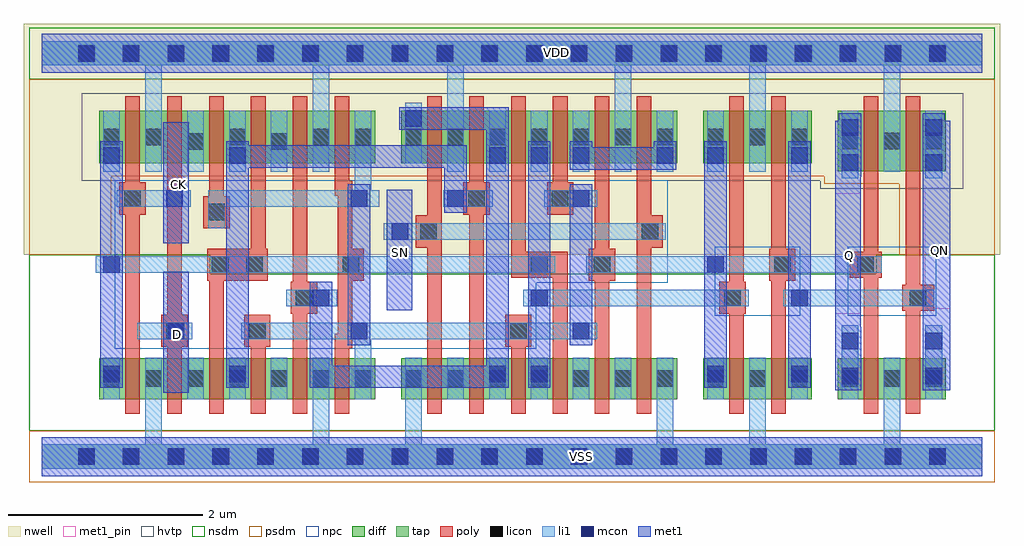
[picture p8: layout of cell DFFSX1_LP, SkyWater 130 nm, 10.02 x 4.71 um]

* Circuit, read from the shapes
.subckt DFFSX1_LP CK D Q QN SN VDD VSS
XM1 VSS CK n1 VSS sky130_fd_pr__nfet_01v8 w=0.42 l=0.15
XM2 n2 D VSS VSS sky130_fd_pr__nfet_01v8 w=0.42 l=0.15
XM3 n3 n1 n2 VSS sky130_fd_pr__nfet_01v8 w=0.42 l=0.15
XM4 n4 n5 n3 VSS sky130_fd_pr__nfet_01v8 w=0.42 l=0.15
XM5 VSS n6 n4 VSS sky130_fd_pr__nfet_01v8 w=0.42 l=0.15
XM6 n5 n1 VSS VSS sky130_fd_pr__nfet_01v8 w=0.42 l=0.15
XM7 n7 SN VSS VSS sky130_fd_pr__nfet_01v8 w=0.42 l=0.15
XM8 n6 n3 n7 VSS sky130_fd_pr__nfet_01v8 w=0.42 l=0.15
XM9 n8 n5 n6 VSS sky130_fd_pr__nfet_01v8 w=0.42 l=0.15
XM10 n9 n1 n8 VSS sky130_fd_pr__nfet_01v8 w=0.42 l=0.15
XM11 n10 n11 n9 VSS sky130_fd_pr__nfet_01v8 w=0.42 l=0.15
XM12 VSS SN n10 VSS sky130_fd_pr__nfet_01v8 w=0.42 l=0.15
XM13 VSS n8 n11 VSS sky130_fd_pr__nfet_01v8 w=0.42 l=0.15
XM14 n12 n11 VSS VSS sky130_fd_pr__nfet_01v8 w=0.42 l=0.15
XM15 VSS n11 Q VSS sky130_fd_pr__nfet_01v8 w=0.42 l=0.15
XM16 QN n12 VSS VSS sky130_fd_pr__nfet_01v8 w=0.42 l=0.15
XM17 VDD CK n1 VDD sky130_fd_pr__pfet_01v8_hvt w=0.54 l=0.15
XM18 n13 D VDD VDD sky130_fd_pr__pfet_01v8_hvt w=0.54 l=0.15
XM19 n3 n5 n13 VDD sky130_fd_pr__pfet_01v8_hvt w=0.54 l=0.15
XM20 n14 n1 n3 VDD sky130_fd_pr__pfet_01v8_hvt w=0.54 l=0.15
XM21 VDD n6 n14 VDD sky130_fd_pr__pfet_01v8_hvt w=0.54 l=0.15
XM22 n5 n1 VDD VDD sky130_fd_pr__pfet_01v8_hvt w=0.54 l=0.15
XM23 VDD SN n6 VDD sky130_fd_pr__pfet_01v8_hvt w=0.54 l=0.15
XM24 n6 n3 VDD VDD sky130_fd_pr__pfet_01v8_hvt w=0.54 l=0.15
XM25 n8 n1 n6 VDD sky130_fd_pr__pfet_01v8_hvt w=0.54 l=0.15
XM26 n15 n5 n8 VDD sky130_fd_pr__pfet_01v8_hvt w=0.54 l=0.15
XM27 VDD n11 n15 VDD sky130_fd_pr__pfet_01v8_hvt w=0.54 l=0.15
XM28 n15 SN VDD VDD sky130_fd_pr__pfet_01v8_hvt w=0.54 l=0.15
XM29 VDD n8 n11 VDD sky130_fd_pr__pfet_01v8_hvt w=0.54 l=0.15
XM30 n12 n11 VDD VDD sky130_fd_pr__pfet_01v8_hvt w=0.54 l=0.15
XM31 VDD n11 Q VDD sky130_fd_pr__pfet_01v8_hvt w=0.62 l=0.15
XM32 QN n12 VDD VDD sky130_fd_pr__pfet_01v8_hvt w=0.62 l=0.15
.ends

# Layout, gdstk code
from math import pi, radians
import gdstk
lib = gdstk.Library(unit=1e-6, precision=1e-09)
def R(c, l, rs):  # rectangles x0, y0, x1, y1
    for r in rs: c.add(gdstk.rectangle(r[:2], r[2:], *l))
def A(c, l, x, y, w, h, nx, ny, dx, dy):  # array of equal rectangles
    R(c, l, [(x+i*dx, y+j*dy, x+i*dx+w, y+j*dy+h) for i in range(nx) for j in range(ny)])
def P(c, l, *ps):  # polygons
    for p in ps: c.add(gdstk.Polygon(p, *l))
nwell = (64, 20)
diff = (65, 20)
tap = (65, 44)
poly = (66, 20)
licon = (66, 44)
li1 = (67, 20)
mcon = (67, 44)
met1_pin = (68, 16)
met1 = (68, 20)
hvtp = (78, 44)
nsdm = (93, 44)
psdm = (94, 20)
npc = (95, 20)

licondiff_c_cdns_7958539 = lib.new_cell('LICONDIFF_C_CDNS_795853916196')
R(licondiff_c_cdns_7958539, diff, [(-0.125,-0.145,0.125,0.145)])
R(licondiff_c_cdns_7958539, licon, [(-0.085,-0.085,0.085,0.085), (-0.085,-0.085,0.085,0.085)])

pyl1con_c_cdns_795853916 = lib.new_cell('PYL1CON_C_CDNS_795853916195')
R(pyl1con_c_cdns_795853916, poly, [(-0.135,-0.165,0.135,0.165)])
R(pyl1con_c_cdns_795853916, licon, [(-0.085,-0.085,0.085,0.085)])
R(pyl1con_c_cdns_795853916, npc, [(-0.185,-0.185,0.185,0.185)])

c_pyl1con_c_cdns_795853916 = lib.new_cell('PYL1CON_C_CDNS_7958539161915')
R(c_pyl1con_c_cdns_795853916, poly, [(-0.135,-0.29,0.135,0.29)])
R(c_pyl1con_c_cdns_795853916, licon, [(-0.085,-0.085,0.085,0.085)])
R(c_pyl1con_c_cdns_795853916, npc, [(-0.185,-0.185,0.185,0.185)])

l1m1_c_cdns_795853916191 = lib.new_cell('L1M1_C_CDNS_7958539161917')
R(l1m1_c_cdns_795853916191, li1, [(-0.125,-0.085,0.125,0.085)])
R(l1m1_c_cdns_795853916191, mcon, [(-0.085,-0.085,0.085,0.085)])
R(l1m1_c_cdns_795853916191, met1, [(-0.115,-0.145,0.115,0.145)])

l1m1_c_cdns_795853916197 = lib.new_cell('L1M1_C_CDNS_795853916197')
R(l1m1_c_cdns_795853916197, li1, [(-0.085,-0.165,0.085,0.165)])
R(l1m1_c_cdns_795853916197, mcon, [(-0.085,-0.085,0.085,0.085)])
R(l1m1_c_cdns_795853916197, met1, [(-0.115,-0.145,0.115,0.145)])

l1m1_c_cdns_795853916194 = lib.new_cell('L1M1_C_CDNS_795853916194')
R(l1m1_c_cdns_795853916194, li1, [(-0.165,-0.085,0.165,0.085)])
R(l1m1_c_cdns_795853916194, mcon, [(-0.085,-0.085,0.085,0.085)])
R(l1m1_c_cdns_795853916194, met1, [(-0.115,-0.145,0.115,0.145)])

l1m1_c_cdns_795853916199 = lib.new_cell('L1M1_C_CDNS_795853916199')
R(l1m1_c_cdns_795853916199, li1, [(-0.085,-0.345,0.085,0.345)])
R(l1m1_c_cdns_795853916199, mcon, [(-0.085,-0.265,0.085,-0.095), (-0.085,0.095,0.085,0.265)])
R(l1m1_c_cdns_795853916199, met1, [(-0.115,-0.325,0.115,0.325)])

l1m1_c_cdns_795853916198 = lib.new_cell('L1M1_C_CDNS_795853916198')
R(l1m1_c_cdns_795853916198, li1, [(-0.085,-0.165,0.085,0.165)])
R(l1m1_c_cdns_795853916198, mcon, [(-0.085,-0.085,0.085,0.085)])
R(l1m1_c_cdns_795853916198, met1, [(-0.145,-0.115,0.145,0.115)])

dffsx1_lp = lib.new_cell('DFFSX1_LP')
R(dffsx1_lp, nwell, [(-0.18,2.07,9.84,4.445)])
R(dffsx1_lp, diff, [(0.595,0.59,3.425,1.01), (3.695,0.59,6.525,1.01), (6.795,0.59,7.905,1.01), (8.175,0.59,9.285,1.01), (8.175,2.93,9.285,3.55), (0.595,3.01,3.425,3.55), (3.695,3.01,6.525,3.55), (6.795,3.01,7.905,3.55)])
R(dffsx1_lp, poly, [(0.86,0.44,1.01,3.7), (1.29,0.44,1.44,3.7), (2.15,0.44,2.3,1.16), (2.58,0.44,2.73,3.7), (3.96,0.44,4.11,3.7), (4.39,0.44,4.54,3.7), (4.82,0.44,4.97,1.16), (5.68,0.44,5.83,3.7), (6.11,0.44,6.26,3.7), (7.06,0.44,7.21,3.7), (7.49,0.44,7.64,3.7), (8.44,0.44,8.59,3.7), (8.87,0.44,9.02,3.7), (1.72,2.51,1.87,3.7), (5.25,2.65,5.4,3.7)])
P(dffsx1_lp, poly, [(1.72,0.44),(1.72,1.805),(1.7,1.805),(1.7,2.135),(2.15,2.135),(2.15,3.7),(2.3,3.7),(2.3,2.135),(2.32,2.135),(2.32,1.805),(1.87,1.805),(1.87,0.44)],
  [(3.01,0.44),(3.01,1.26),(3.04,1.26),(3.04,2.68),(3.01,2.68),(3.01,3.7),(3.16,3.7),(3.16,2.83),(3.19,2.83),(3.19,1.11),(3.16,1.11),(3.16,0.44)],
  [(5.25,0.44),(5.25,1.895),(4.82,1.895),(4.82,3.7),(4.97,3.7),(4.97,2.045),(5.4,2.045),(5.4,0.44)])
A(dffsx1_lp, licon, 0.375, -0.085, 0.17, 0.17, 20, 2, 0.46, 4.14)
A(dffsx1_lp, licon, 1.065, 0.715, 0.17, 0.17, 3, 2, 0.86, 2.48)
A(dffsx1_lp, licon, 6.835, 0.715, 0.17, 0.17, 3, 2, 0.43, 2.48)
A(dffsx1_lp, licon, 8.215, 0.715, 0.17, 0.17, 3, 2, 0.43, 2.44)
A(dffsx1_lp, licon, 3.735, 3.195, 0.17, 0.17, 7, 1, 0.43, 0)
R(dffsx1_lp, licon, [(0.635,0.715,0.805,0.885), (3.215,0.715,3.385,0.885), (3.735,0.715,3.905,0.885), (4.595,0.715,4.765,0.885), (5.025,0.715,5.195,0.885), (6.315,0.715,6.485,0.885), (0.635,3.195,0.805,3.365), (3.215,3.195,3.385,3.365)])
A(dffsx1_lp, li1, 4.595, 3.01, 0.17, 0.54, 3, 1, 0.43, 0)
R(dffsx1_lp, li1, [(0.635,0.59,0.805,1.01), (1.925,0.59,2.095,1.01), (4.595,0.59,4.765,1.01), (5.025,0.59,5.195,1.01), (6.835,0.59,7.005,1.01), (7.695,0.59,7.865,1.01), (8.215,0.59,8.385,1.01), (9.075,0.59,9.245,1.01), (0.77,2.565,1.315,2.735), (8.215,2.93,8.385,3.55), (9.075,2.93,9.245,3.55), (0.635,3.01,0.805,3.55), (1.925,3.01,2.095,3.55), (3.735,3.01,3.905,3.55), (6.315,3.01,6.485,3.55), (6.835,3.01,7.005,3.55), (7.695,3.01,7.865,3.55)])
P(dffsx1_lp, li1, [(1.71,2.345),(1.71,2.735),(3.215,2.735),(3.215,3.55),(3.385,3.55),(3.385,2.735),(3.465,2.735),(3.465,2.565),(1.88,2.565),(1.88,2.345)],
  [(3.215,0.59),(3.215,1.205),(2.05,1.205),(2.05,1.375),(5.705,1.375),(5.705,1.205),(3.385,1.205),(3.385,0.59)],
  [(1.065,2.925),(1.065,4.015),(0,4.015),(0,4.265),(9.66,4.265),(9.66,4.015),(8.815,4.015),(8.815,2.925),(8.645,2.925),(8.645,4.015),(7.435,4.015),(7.435,2.925),(7.265,2.925),(7.265,4.015),(6.055,4.015),(6.055,2.925),(5.885,2.925),(5.885,4.015),(4.335,4.015),(4.335,2.925),(4.165,2.925),(4.165,4.015),(2.955,4.015),(2.955,2.925),(2.785,2.925),(2.785,4.015),(1.235,4.015),(1.235,2.925)],
  [(0,-0.125),(0,0.125),(1.065,0.125),(1.065,1.015),(1.235,1.015),(1.235,0.125),(2.785,0.125),(2.785,1.015),(2.955,1.015),(2.955,0.125),(3.735,0.125),(3.735,1.015),(3.905,1.015),(3.905,0.125),(6.315,0.125),(6.315,1.015),(6.485,1.015),(6.485,0.125),(7.265,0.125),(7.265,1.015),(7.435,1.015),(7.435,0.125),(8.645,0.125),(8.645,1.015),(8.815,1.015),(8.815,0.125),(9.66,0.125),(9.66,-0.125)])
A(dffsx1_lp, mcon, 0.375, -0.085, 0.17, 0.17, 20, 2, 0.46, 4.14)
R(dffsx1_lp, met1_pin, [(1.25,0.655,1.51,1.895), (8.15,1.465,8.41,2.705), (3.545,1.5,3.805,2.74), (9.07,1.52,9.33,2.76), (1.25,2.19,1.51,3.43)])
R(dffsx1_lp, met1, [(9.045,0.68,9.33,3.45)])
P(dffsx1_lp, hvtp, [(7.995,2.75),(7.995,2.83),(0.415,2.83),(0.415,3.73),(9.465,3.73),(9.465,2.75)])
R(dffsx1_lp, nsdm, [(-0.125,3.875,9.785,4.405)])
P(dffsx1_lp, nsdm, [(-0.125,0.265),(-0.125,2.07),(1.73,2.07),(1.73,1.875),(8.57,1.875),(8.57,2.07),(9.785,2.07),(9.785,0.265)])
R(dffsx1_lp, psdm, [(-0.125,-0.265,9.785,0.265)])
P(dffsx1_lp, psdm, [(-0.125,2.07),(-0.125,3.875),(9.785,3.875),(9.785,2.07),(8.805,2.07),(8.805,2.8),(8.035,2.8),(8.035,2.88),(0.715,2.88),(0.715,2.07)])
R(dffsx1_lp, npc, [(6.91,1.445,7.79,2.155), (8.275,1.445,9.185,2.155)])
P(dffsx1_lp, npc, [(0.75,1.105),(0.75,2.835),(6.43,2.835),(6.43,1.785),(5.08,1.785),(5.08,1.105)])
dffsx1_lp.add(gdstk.FlexPath([(0,4.14),(9.66,4.14)], 0.4, ends="flush", simple_path=True, layer=68, datatype=20))  # met1
dffsx1_lp.add(gdstk.FlexPath([(0,0),(9.66,0)], 0.4, ends="flush", simple_path=True, layer=68, datatype=20))  # met1
dffsx1_lp.add(gdstk.FlexPath([(3.675,3.47),(4.68,3.47),(4.68,0.82),(2.87,0.82),(2.87,1.795)], 0.23, ends="flush", simple_path=True, layer=68, datatype=20))  # met1
dffsx1_lp.add(gdstk.FlexPath([(5.54,1.145),(5.54,2.795)], 0.23, ends="flush", simple_path=True, layer=68, datatype=20))  # met1
dffsx1_lp.add(gdstk.FlexPath([(6.92,0.705),(6.92,3.235)], 0.23, ends="flush", simple_path=True, layer=68, datatype=20))  # met1
dffsx1_lp.add(gdstk.FlexPath([(1.38,2.19),(1.38,3.43)], 0.26, ends="flush", simple_path=True, layer=68, datatype=20))  # met1
dffsx1_lp.add(gdstk.FlexPath([(3.675,1.5),(3.675,2.74)], 0.26, ends="flush", simple_path=True, layer=68, datatype=20))  # met1
dffsx1_lp.add(gdstk.FlexPath([(1.38,0.655),(1.38,1.895)], 0.26, ends="flush", simple_path=True, layer=68, datatype=20))  # met1
dffsx1_lp.add(gdstk.FlexPath([(8.28,0.68),(8.28,3.45)], 0.26, ends="flush", simple_path=True, layer=68, datatype=20))  # met1
dffsx1_lp.add(gdstk.FlexPath([(5.11,0.705),(5.11,3.235)], 0.23, ends="flush", simple_path=True, layer=68, datatype=20))  # met1
dffsx1_lp.add(gdstk.FlexPath([(5.425,3.06),(6.515,3.06)], 0.23, ends="flush", simple_path=True, layer=68, datatype=20))  # met1
dffsx1_lp.add(gdstk.FlexPath([(0.72,0.705),(0.72,3.235)], 0.23, ends="flush", simple_path=True, layer=68, datatype=20))  # met1
dffsx1_lp.add(gdstk.FlexPath([(4.25,2.505),(4.25,3.08),(2.01,3.08),(2.01,0.705)], 0.23, ends="flush", simple_path=True, layer=68, datatype=20))  # met1
dffsx1_lp.add(gdstk.FlexPath([(7.78,0.705),(7.78,3.235)], 0.23, ends="flush", simple_path=True, layer=68, datatype=20))  # met1
dffsx1_lp.add(gdstk.FlexPath([(3.26,1.145),(3.26,2.795)], 0.23, ends="flush", simple_path=True, layer=68, datatype=20))  # met1
dffsx1_lp.add(gdstk.FlexPath([(5.16,2.65),(5.705,2.65)], 0.17, ends="flush", simple_path=True, layer=67, datatype=20))  # li1
dffsx1_lp.add(gdstk.FlexPath([(1.58,0.59),(1.58,1.015)], 0.17, ends="flush", simple_path=True, layer=67, datatype=20))  # li1
dffsx1_lp.add(gdstk.FlexPath([(1.58,2.925),(1.58,3.55)], 0.17, ends="flush", simple_path=True, layer=67, datatype=20))  # li1
dffsx1_lp.add(gdstk.FlexPath([(4.125,2.65),(4.63,2.65)], 0.17, ends="flush", simple_path=True, layer=67, datatype=20))  # li1
dffsx1_lp.add(gdstk.FlexPath([(0.555,1.97),(5.275,1.97)], 0.17, ends="flush", simple_path=True, layer=67, datatype=20))  # li1
dffsx1_lp.add(gdstk.FlexPath([(2.44,0.59),(2.44,1.015)], 0.17, ends="flush", simple_path=True, layer=67, datatype=20))  # li1
dffsx1_lp.add(gdstk.FlexPath([(2.44,2.925),(2.44,3.55)], 0.17, ends="flush", simple_path=True, layer=67, datatype=20))  # li1
dffsx1_lp.add(gdstk.FlexPath([(5.54,0.59),(5.54,1.015)], 0.17, ends="flush", simple_path=True, layer=67, datatype=20))  # li1
dffsx1_lp.add(gdstk.FlexPath([(5.97,0.59),(5.97,1.015)], 0.17, ends="flush", simple_path=True, layer=67, datatype=20))  # li1
dffsx1_lp.add(gdstk.FlexPath([(3.035,1.63),(2.51,1.63)], 0.17, ends="flush", simple_path=True, layer=67, datatype=20))  # li1
dffsx1_lp.add(gdstk.FlexPath([(4.945,1.63),(7.26,1.63)], 0.17, ends="flush", simple_path=True, layer=67, datatype=20))  # li1
dffsx1_lp.add(gdstk.FlexPath([(6.41,2.31),(3.565,2.31)], 0.17, ends="flush", simple_path=True, layer=67, datatype=20))  # li1
dffsx1_lp.add(gdstk.FlexPath([(0.985,1.29),(1.53,1.29)], 0.17, ends="flush", simple_path=True, layer=67, datatype=20))  # li1
dffsx1_lp.add(gdstk.FlexPath([(5.59,1.97),(8.625,1.97)], 0.17, ends="flush", simple_path=True, layer=67, datatype=20))  # li1
dffsx1_lp.add(gdstk.FlexPath([(4.25,0.59),(4.25,1.015)], 0.17, ends="flush", simple_path=True, layer=67, datatype=20))  # li1
dffsx1_lp.add(gdstk.FlexPath([(7.615,1.63),(9.165,1.63)], 0.17, ends="flush", simple_path=True, layer=67, datatype=20))  # li1
dffsx1_lp.add(gdstk.FlexPath([(0,4.14),(9.66,4.14)], 0.25, ends="flush", simple_path=True, layer=65, datatype=44))  # tap
dffsx1_lp.add(gdstk.FlexPath([(0,0),(9.66,0)], 0.25, ends="flush", simple_path=True, layer=65, datatype=44))  # tap
dffsx1_lp.add(gdstk.FlexPath([(0,4.14),(9.66,4.14)], 0.4, ends="flush", simple_path=True, layer=68, datatype=16))  # met1_pin
dffsx1_lp.add(gdstk.FlexPath([(0,0),(9.66,0)], 0.4, ends="flush", simple_path=True, layer=68, datatype=16))  # met1_pin
dffsx1_lp.add(gdstk.Reference(licondiff_c_cdns_7958539, (1.58,0.8)))
dffsx1_lp.add(gdstk.Reference(licondiff_c_cdns_7958539, (1.58,3.235)))
dffsx1_lp.add(gdstk.Reference(licondiff_c_cdns_7958539, (2.44,3.235)))
dffsx1_lp.add(gdstk.Reference(licondiff_c_cdns_7958539, (4.25,0.8)))
dffsx1_lp.add(gdstk.Reference(licondiff_c_cdns_7958539, (5.54,0.8)))
dffsx1_lp.add(gdstk.Reference(licondiff_c_cdns_7958539, (5.97,0.8)))
dffsx1_lp.add(gdstk.Reference(licondiff_c_cdns_7958539, (2.44,0.8)))
dffsx1_lp.add(gdstk.Reference(pyl1con_c_cdns_795853916, (4.465,2.65), rotation=pi))
dffsx1_lp.add(gdstk.Reference(pyl1con_c_cdns_795853916, (8.46,1.97), rotation=3*pi/2, x_reflection=True))
dffsx1_lp.add(gdstk.Reference(pyl1con_c_cdns_795853916, (7.605,1.97), x_reflection=True))
dffsx1_lp.add(gdstk.Reference(pyl1con_c_cdns_795853916, (9,1.63), rotation=3*pi/2, x_reflection=True))
dffsx1_lp.add(gdstk.Reference(pyl1con_c_cdns_795853916, (7.095,1.63), rotation=pi, x_reflection=True))
dffsx1_lp.add(gdstk.Reference(pyl1con_c_cdns_795853916, (5.325,2.65), rotation=pi))
dffsx1_lp.add(gdstk.Reference(pyl1con_c_cdns_795853916, (1.795,2.51), rotation=pi))
dffsx1_lp.add(gdstk.Reference(pyl1con_c_cdns_795853916, (2.215,1.29), x_reflection=True))
dffsx1_lp.add(gdstk.Reference(pyl1con_c_cdns_795853916, (4.895,1.29), x_reflection=True))
dffsx1_lp.add(gdstk.Reference(pyl1con_c_cdns_795853916, (5.755,1.97), rotation=pi, x_reflection=True))
dffsx1_lp.add(gdstk.Reference(pyl1con_c_cdns_795853916, (2.185,1.97), rotation=pi, x_reflection=True))
dffsx1_lp.add(gdstk.Reference(pyl1con_c_cdns_795853916, (6.245,2.31), x_reflection=True))
dffsx1_lp.add(gdstk.Reference(pyl1con_c_cdns_795853916, (3.175,1.97)))
dffsx1_lp.add(gdstk.Reference(pyl1con_c_cdns_795853916, (1.835,1.97), rotation=pi, x_reflection=True))
dffsx1_lp.add(gdstk.Reference(pyl1con_c_cdns_795853916, (1.365,1.29), x_reflection=True))
dffsx1_lp.add(gdstk.Reference(pyl1con_c_cdns_795853916, (0.935,2.65), rotation=pi))
dffsx1_lp.add(gdstk.Reference(pyl1con_c_cdns_795853916, (3.975,2.31), x_reflection=True))
dffsx1_lp.add(gdstk.Reference(pyl1con_c_cdns_795853916, (2.695,1.63), rotation=pi))
dffsx1_lp.add(gdstk.Reference(c_pyl1con_c_cdns_795853916, (5.11,1.97), rotation=pi/2))
dffsx1_lp.add(gdstk.Reference(l1m1_c_cdns_795853916191, (4.25,2.65), rotation=pi, x_reflection=True))
dffsx1_lp.add(gdstk.Reference(l1m1_c_cdns_795853916197, (7.78,3.09), rotation=pi, x_reflection=True))
dffsx1_lp.add(gdstk.Reference(l1m1_c_cdns_795853916197, (2.01,0.85), rotation=pi, x_reflection=True))
dffsx1_lp.add(gdstk.Reference(l1m1_c_cdns_795853916197, (2.01,3.09), rotation=pi, x_reflection=True))
dffsx1_lp.add(gdstk.Reference(l1m1_c_cdns_795853916197, (7.78,0.85), rotation=pi, x_reflection=True))
dffsx1_lp.add(gdstk.Reference(l1m1_c_cdns_795853916197, (4.68,3.09), rotation=pi, x_reflection=True))
dffsx1_lp.add(gdstk.Reference(l1m1_c_cdns_795853916197, (4.68,0.85), rotation=pi, x_reflection=True))
dffsx1_lp.add(gdstk.Reference(l1m1_c_cdns_795853916197, (6.4,3.09), rotation=pi, x_reflection=True))
dffsx1_lp.add(gdstk.Reference(l1m1_c_cdns_795853916197, (0.72,0.85), rotation=pi, x_reflection=True))
dffsx1_lp.add(gdstk.Reference(l1m1_c_cdns_795853916197, (0.72,3.09), rotation=pi, x_reflection=True))
dffsx1_lp.add(gdstk.Reference(l1m1_c_cdns_795853916197, (5.54,3.09), rotation=pi, x_reflection=True))
dffsx1_lp.add(gdstk.Reference(l1m1_c_cdns_795853916197, (6.92,0.85), rotation=pi, x_reflection=True))
dffsx1_lp.add(gdstk.Reference(l1m1_c_cdns_795853916197, (6.92,3.09), rotation=pi, x_reflection=True))
dffsx1_lp.add(gdstk.Reference(l1m1_c_cdns_795853916197, (5.11,0.85), rotation=pi, x_reflection=True))
dffsx1_lp.add(gdstk.Reference(l1m1_c_cdns_795853916197, (5.11,3.09), rotation=pi, x_reflection=True))
dffsx1_lp.add(gdstk.Reference(l1m1_c_cdns_795853916194, (5.54,2.65)))
dffsx1_lp.add(gdstk.Reference(l1m1_c_cdns_795853916194, (5.54,1.29)))
dffsx1_lp.add(gdstk.Reference(l1m1_c_cdns_795853916194, (6.92,1.97), rotation=pi, x_reflection=True))
dffsx1_lp.add(gdstk.Reference(l1m1_c_cdns_795853916194, (2.87,1.63), rotation=pi, x_reflection=True))
dffsx1_lp.add(gdstk.Reference(l1m1_c_cdns_795853916194, (3.26,2.65)))
dffsx1_lp.add(gdstk.Reference(l1m1_c_cdns_795853916194, (7.78,1.63)))
dffsx1_lp.add(gdstk.Reference(l1m1_c_cdns_795853916194, (3.26,1.29)))
dffsx1_lp.add(gdstk.Reference(l1m1_c_cdns_795853916194, (1.38,1.29), x_reflection=True))
dffsx1_lp.add(gdstk.Reference(l1m1_c_cdns_795853916194, (1.365,2.65), x_reflection=True))
dffsx1_lp.add(gdstk.Reference(l1m1_c_cdns_795853916194, (0.72,1.97), rotation=pi, x_reflection=True))
dffsx1_lp.add(gdstk.Reference(l1m1_c_cdns_795853916194, (3.68,2.31), x_reflection=True))
dffsx1_lp.add(gdstk.Reference(l1m1_c_cdns_795853916194, (5.11,1.63)))
dffsx1_lp.add(gdstk.Reference(l1m1_c_cdns_795853916199, (8.3,3.2)))
dffsx1_lp.add(gdstk.Reference(l1m1_c_cdns_795853916199, (8.3,1.005)))
dffsx1_lp.add(gdstk.Reference(l1m1_c_cdns_795853916199, (9.16,3.2)))
dffsx1_lp.add(gdstk.Reference(l1m1_c_cdns_795853916199, (9.16,1.005)))
dffsx1_lp.add(gdstk.Reference(l1m1_c_cdns_795853916199, (8.3,1.005)))
dffsx1_lp.add(gdstk.Reference(l1m1_c_cdns_795853916199, (8.3,3.2)))
dffsx1_lp.add(gdstk.Reference(l1m1_c_cdns_795853916199, (9.16,1.005)))
dffsx1_lp.add(gdstk.Reference(l1m1_c_cdns_795853916199, (9.16,3.2)))
dffsx1_lp.add(gdstk.Reference(l1m1_c_cdns_795853916198, (3.82,3.47), rotation=pi, x_reflection=True))
dffsx1_lp.add(gdstk.Label('Q', (8.295,2.06), layer=68, texttype=5))
dffsx1_lp.add(gdstk.Label('CK', (1.405,2.795), layer=68, texttype=5))
dffsx1_lp.add(gdstk.Label('QN', (9.215,2.115), layer=68, texttype=5))
dffsx1_lp.add(gdstk.Label('D', (1.395,1.25), layer=68, texttype=5))
dffsx1_lp.add(gdstk.Label('VDD', (5.285,4.145), layer=68, texttype=5))
dffsx1_lp.add(gdstk.Label('VSS', (5.545,0.005), layer=68, texttype=5))
dffsx1_lp.add(gdstk.Label('SN', (3.69,2.095), layer=68, texttype=5))

lib.write_gds('DFFSX1_LP.gds')
